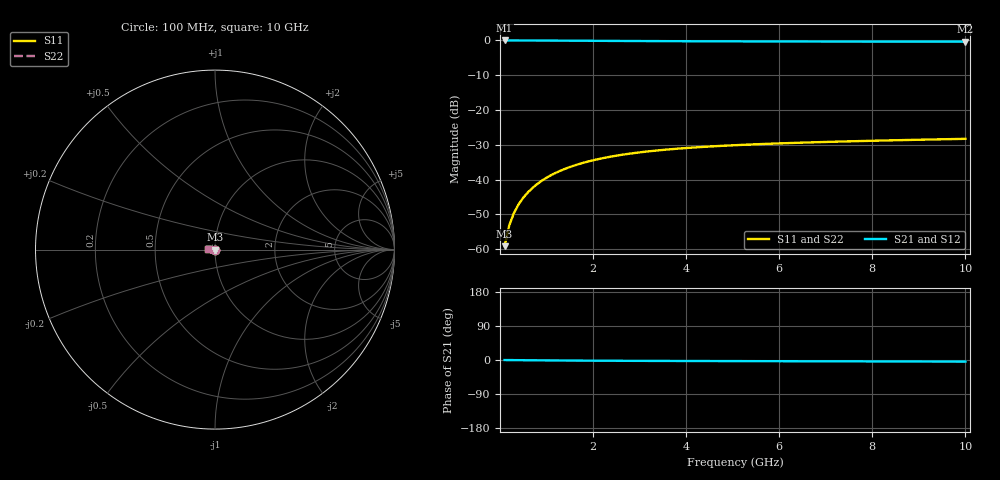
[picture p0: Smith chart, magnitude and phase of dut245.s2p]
! Touchstone file exported from HFSS 2024.1.0
!  File:  C:/UserFiles/LocalFiles/RDL_TSV_Batchsim/temp_TSV1_245_1779390040.aedt
!  Generated:  03:06:46 AM May 22, 2026
!  Design:  TSV1
!  Project:  temp_TSV1_245_1779390040
!  Setup:  Setup1
!  Solution:  Sweep
! Variables:
!  dtsv = 12.34um
!  hbump = 3um
!  htsv = 62.17um
!  lrdl = 252.1521522um
!  p = 40
!  p1 = 59.14um
!  t = 500um
!  trdl = 3um
!  wrdl = 24.89489489um
# GHz S MA R 50.000000
! Terminal data exported
! Port[1] = TSV22_T1
! Port[2] = TSV22_T2
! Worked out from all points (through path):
!   100 points, 100 MHz to 10 GHz, reference 50 ohm
!   highest |S21| = 0.00 dB at 100 MHz (marker M1); lowest = -0.4 dB at 10 GHz (marker M2)
!   lowest |S11| = -59.1 dB at 100 MHz (marker M3), VSWR 1.00, Z = 50 - j0.111 ohm
!   |S11| at or under -10 dB: start of sweep to end of sweep
!   |S22| runs from -59.1 to -28.3 dB; largest |S21 - S12| = 1e-14
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0.1  0.001107 -87.9  0.9999 -0.1  0.9999 -0.1  0.001107 -87.9
! Gamma 0 0 0 0
! Port Impedance 50 0 50 0
0.2  0.00221 -91.9  0.9997 -0.2  0.9997 -0.2  0.00221 -91.9
0.3  0.003311 -94.5  0.9995 -0.3  0.9995 -0.3  0.003311 -94.5
0.4  0.004406 -96.9  0.9992 -0.4  0.9992 -0.4  0.004406 -96.9
0.5  0.005491 -99.1  0.9989 -0.5  0.9989 -0.5  0.005491 -99.1
0.6  0.006562 -101.3  0.9985 -0.6  0.9985 -0.6  0.006562 -101.3
0.7  0.007615 -103.4  0.998 -0.7  0.998 -0.7  0.007615 -103.4
0.8  0.008647 -105.4  0.9974 -0.8  0.9974 -0.8  0.008647 -105.4
0.9  0.009658 -107.4  0.9968 -0.9  0.9968 -0.9  0.009658 -107.4
1.1  0.0116 -111.3  0.9955 -1.1  0.9955 -1.1  0.0116 -111.3
1.4  0.01432 -116.9  0.9933 -1.4  0.9933 -1.4  0.01432 -116.9
1.6  0.01598 -120.4  0.9917 -1.5  0.9917 -1.5  0.01598 -120.4
1.8  0.01753 -123.7  0.99 -1.7  0.99 -1.7  0.01753 -123.7
2.1  0.01964 -128.4  0.9876 -1.8  0.9876 -1.8  0.01964 -128.4
2.5  0.02209 -134.1  0.9844 -2.1  0.9844 -2.1  0.02209 -134.1
2.9  0.02417 -139.3  0.9814 -2.2  0.9814 -2.2  0.02417 -139.3
3.4  0.02634 -145.1  0.9781 -2.4  0.9781 -2.4  0.02634 -145.1
4.2  0.02907 -153.1  0.9738 -2.7  0.9738 -2.7  0.02907 -153.1
5.1  0.03137 -160.6  0.9699 -2.9  0.9699 -2.9  0.03137 -160.6
6.7  0.03434 -171.4  0.9653 -3.4  0.9653 -3.4  0.03434 -171.4
8.4  0.0367 179.5  0.9621 -3.8  0.9621 -3.8  0.0367 179.5
10  0.03859 172.3  0.9601 -4.2  0.9601 -4.2  0.03859 172.3
